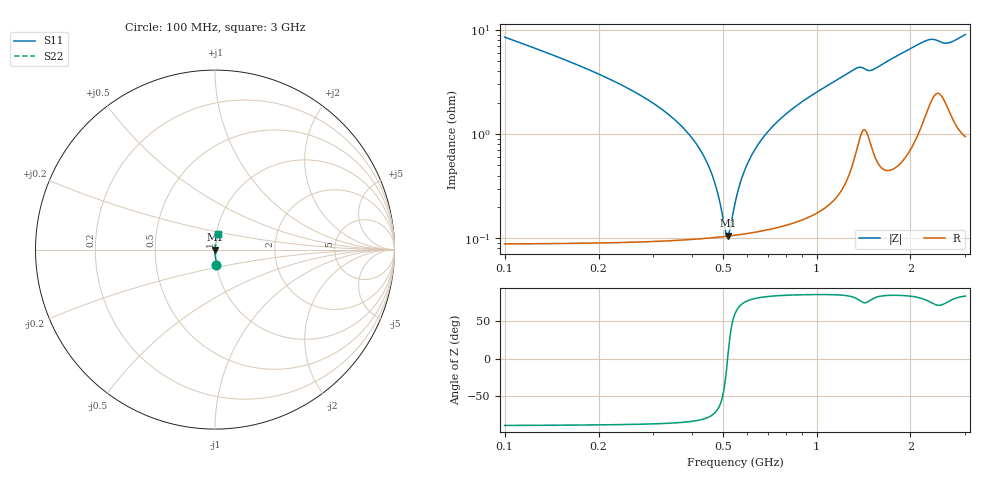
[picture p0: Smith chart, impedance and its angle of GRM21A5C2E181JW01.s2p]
!Murata Part Number: GRM21A5C2E181JW01
!These Parameters are Measured in Series Mode Connection
!Data Generated on Mar 30, 2021
!  o--ll--o
!Port1  Port2
!  o------o
!Operation Temp=25[degC], DC Bias Voltage=0[V]
!Freq. Start=100[MHz] Stop=3[GHz] 401[Steps]
# Hz S RI R 50
!Freq.(Hz) S11(Real) S11(Imag) S21(Real) S21(Imag) S12(Real) S12(Imag) S22(Real) S22(Imag)
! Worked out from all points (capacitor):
!   401 points, 100 MHz to 3 GHz, reference 50 ohm
!   read as one part in series: C = 180 pF near 114.5 MHz
!   lowest |Z| = 106 mohm at 520.5 MHz (marker M1)
!   series resonance near 518.6 MHz, so ESL is about 520 pH
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1e8  0.00806 -0.0844  0.9919 0.0844  0.9919 0.0844  0.00806 -0.0844
1.7975e8  0.00277 -0.0432  0.9972 0.0432  0.9972 0.0432  0.00277 -0.0432
3.3925e8  0.00117 -0.0149  0.9988 0.0149  0.9988 0.0149  0.00117 -0.0149
4.045e8  0.00105 -0.00859  0.9989 0.00859  0.9989 0.00859  0.00105 -0.00859
4.5525e8  0.00103 -0.00448  0.999 0.00448  0.999 0.00448  0.00103 -0.00448
4.77e8  0.00103 -0.00287  0.999 0.00287  0.999 0.00287  0.00103 -0.00287
5.06e8  0.00104 -0.000845  0.999 0.000845  0.999 0.000845  0.00104 -0.000845
5.205e8  0.00105 0.000125  0.999 -0.000125  0.999 -0.000125  0.00105 0.000125
5.2775e8  0.00105 0.0006  0.9989 -0.0006  0.9989 -0.0006  0.00105 0.0006
5.64e8  0.00109 0.00289  0.9989 -0.00289  0.9989 -0.00289  0.00109 0.00289
5.8575e8  0.00112 0.0042  0.9989 -0.0042  0.9989 -0.0042  0.00112 0.0042
6.51e8  0.00122 0.00792  0.9988 -0.00792  0.9988 -0.00792  0.00122 0.00792
7.4525e8  0.00143 0.0129  0.9986 -0.0129  0.9986 -0.0129  0.00143 0.0129
8.83e8  0.00185 0.0196  0.9981 -0.0196  0.9981 -0.0196  0.00185 0.0196
1.0715e9  0.00279 0.0284  0.9972 -0.0284  0.9972 -0.0284  0.00279 0.0284
1.347e9  0.00891 0.0417  0.9911 -0.0417  0.9911 -0.0417  0.00891 0.0417
1.4775e9  0.0102 0.0389  0.9898 -0.0389  0.9898 -0.0389  0.0102 0.0389
1.55e9  0.00748 0.042  0.9925 -0.042  0.9925 -0.042  0.00748 0.042
2.03575e9  0.0122 0.0663  0.9878 -0.0663  0.9878 -0.0663  0.0122 0.0663
2.304e9  0.0244 0.075  0.9756 -0.075  0.9756 -0.075  0.0244 0.075
2.5215e9  0.0273 0.0685  0.9727 -0.0685  0.9727 -0.0685  0.0273 0.0685
3e9  0.0171 0.0874  0.9829 -0.0874  0.9829 -0.0874  0.0171 0.0874
